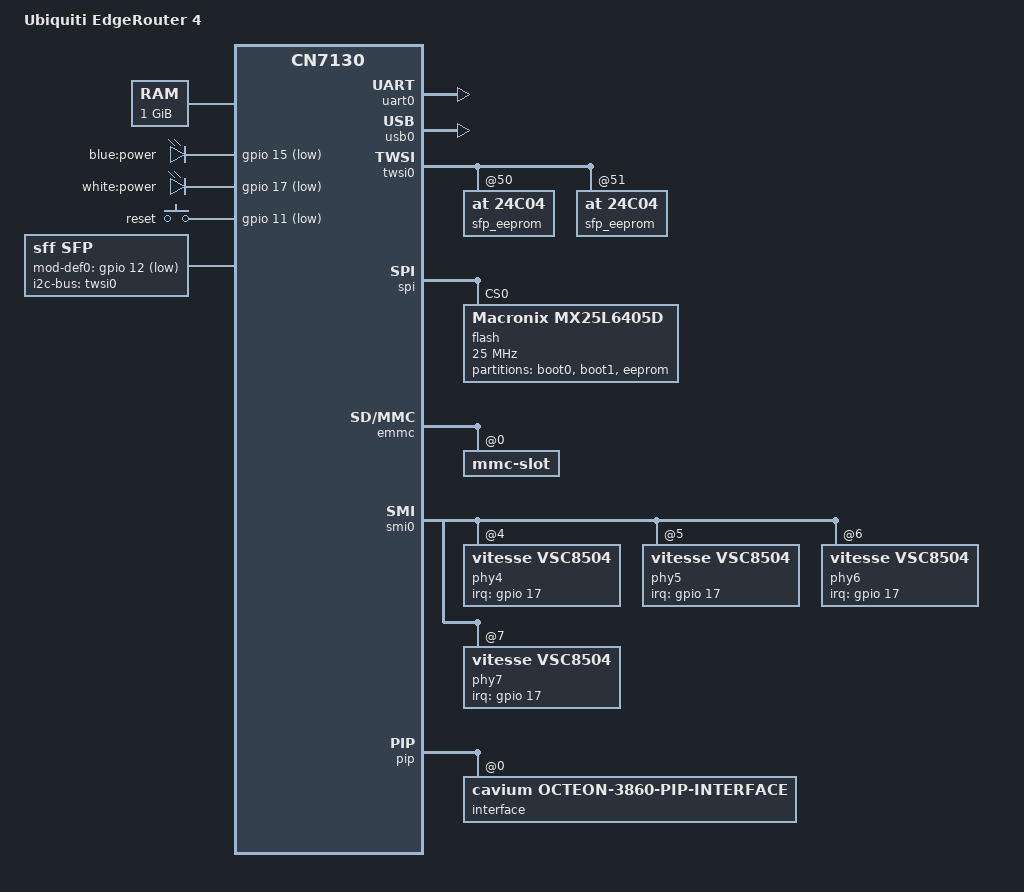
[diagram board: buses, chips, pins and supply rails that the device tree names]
// SPDX-License-Identifier: GPL-2.0-or-later OR MIT

#include "cn7130.dtsi"

#include <dt-bindings/gpio/gpio.h>
#include <dt-bindings/input/input.h>

/ {
	compatible = "ubnt,edgerouter-4", "cavium,cn7130";
	model = "Ubiquiti EdgeRouter 4";

	aliases {
		/* White + Blinking Blue */
		led-boot = &led_power_white;
		/* Blue + Blinking White */
		led-failsafe = &led_power_blue;
		/* Constant Blue */
		led-running = &led_power_blue;
		/* Blue + Blinking White */
		led-upgrade = &led_power_blue;
	};

	memory@0 {
		device_type = "memory";
		reg = <0x0 0x00000000>,
		      <0x0 0x10000000>,
		      <0x0 0x20000000>,
		      <0x0 0x30000000>;
	};

	leds {
		compatible = "gpio-leds";

		led_power_blue: power_blue {
			label = "blue:power";
			gpios = <&gpio 15 GPIO_ACTIVE_LOW>;
		};
		led_power_white: power_white {
			label = "white:power";
			gpios = <&gpio 17 GPIO_ACTIVE_LOW>;
		};
	};

	keys {
		compatible = "gpio-keys-polled";
		/* Poll interval time in milliseconds */
		poll-interval = <20>;

		reset {
			label = "reset";
			linux,code = <KEY_RESTART>;
			gpios = <&gpio 11 GPIO_ACTIVE_LOW>;
			debounce-interval = <60>;
		};
	};

	sfp: sfp {
		compatible = "sff,sfp";
		i2c-bus = <&twsi0>;
		/* Pins 12, 13 and 14 gets pulled low when SFP is plugged in */
		mod-def0-gpio = <&gpio 12 GPIO_ACTIVE_LOW>;
	};
};

&uart0 {
	status = "okay";
};

&usb0 {
	status = "okay";
};

&twsi0 {
	status = "okay";

	sfp_eeprom@50 {
		compatible = "at,24c04";
		reg = <0x50>;
	};

	sfp_eeprom@51 {
		compatible = "at,24c04";
		reg = <0x51>;
	};
};

&spi {
	status = "okay";

	flash@0 {
		#address-cells = <1>;
		#size-cells = <1>;
		address-width = <24>;
		mode = <0x00>;
		spi-max-frequency = <25000000>;
		compatible = "Macronix,mx25l6405d", "spi-flash";
		size = <0x200000>;
		pagesize = <0x10000>;
		reg = <0x00>;

		boot0: partition@0 {
			label = "boot0";
			read-only;
			reg = <0x0 0x200000>;
		};

		boot1: partition@200000 {
			label = "boot1";
			read-only;
			reg = <0x200000 0x200000>;
		};

		eeprom: partition@400000 {
			label = "eeprom";
			read-only;
			reg = <0x400000 0x10000>;
		};
	};
};

&emmc {
	status = "okay";

	mmc-slot@0 {
		compatible = "mmc-slot";
		reg = <0>;
		non-removable;
		max-frequency = <26000000>;
		voltage-ranges = <3300 3300>;
		bus-width = <8>;
	};
};

&smi0 {
	status = "okay";

	phy4: ethernet-phy@4 {
		device_type = "ethernet-phy";
		interrupts = <17 8>;
		interrupt-parent = <&gpio>;
		compatible = "vitesse,vsc8504", "ethernet-phy-ieee802.3-c22";
		reg = <4>;
	};
	phy5: ethernet-phy@5 {
		device_type = "ethernet-phy";
		interrupts = <17 8>;
		interrupt-parent = <&gpio>;
		compatible = "vitesse,vsc8504", "ethernet-phy-ieee802.3-c22";
		reg = <5>;
	};
	phy6: ethernet-phy@6 {
		device_type = "ethernet-phy";
		interrupts = <17 8>;
		interrupt-parent = <&gpio>;
		compatible = "vitesse,vsc8504", "ethernet-phy-ieee802.3-c22";
		reg = <6>;
	};
	phy7: ethernet-phy@7 {
		device_type = "ethernet-phy";
		interrupts = <17 8>;
		interrupt-parent = <&gpio>;
		compatible = "vitesse,vsc8504", "ethernet-phy-ieee802.3-c22";
		reg = <7>;
	};
};

&pip {
	status = "okay";

	interface@0 {
		#address-cells = <1>;
		#size-cells = <0>;
		compatible = "cavium,octeon-3860-pip-interface";
		reg = <0>; /* Interface */

		ethernet@0 {
			compatible = "cavium,octeon-3860-pip-port";
			reg = <0>; /* Port */
			phy-mode = "sgmii";
			phy-handle = <&phy4>;
			mtd-mac-address = <&eeprom 6>;
		};

		ethernet@1 {
			compatible = "cavium,octeon-3860-pip-port";
			reg = <1>; /* Port */
			phy-mode = "sgmii";
			phy-handle = <&phy5>;
			mtd-mac-address = <&eeprom 6>;
			mtd-mac-address-increment = <(1)>;
		};

		ethernet@2 {
			compatible = "cavium,octeon-3860-pip-port";
			reg = <2>; /* Port */
			phy-mode = "sgmii";
			phy-handle = <&phy6>;
			mtd-mac-address = <&eeprom 6>;
			mtd-mac-address-increment = <(2)>;
		};

		ethernet@3 {
			compatible = "cavium,octeon-3860-pip-port";
			reg = <3>; /* Port */
			phy-mode = "sgmii";
			phy-handle = <&phy7>;
			mtd-mac-address = <&eeprom 6>;
			mtd-mac-address-increment = <(3)>;
		};
	};
};
